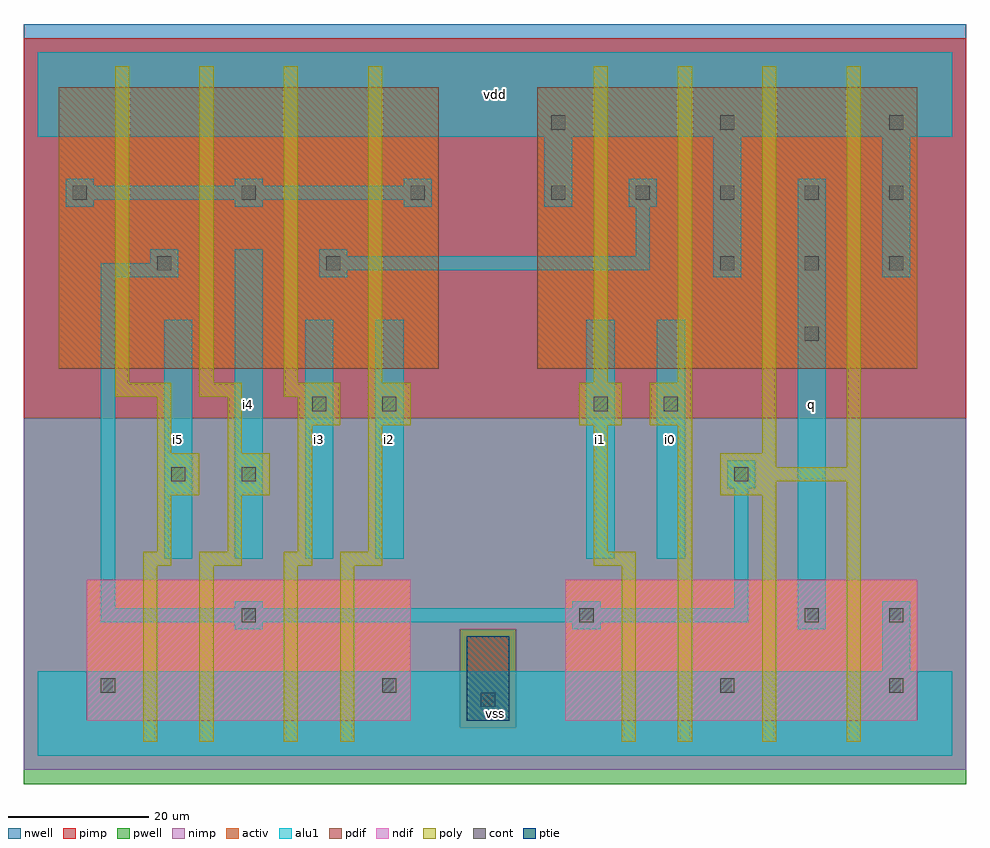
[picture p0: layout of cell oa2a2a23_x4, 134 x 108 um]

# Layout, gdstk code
import gdstk
lib = gdstk.Library(unit=1e-6, precision=1e-09)
def R(c, l, rs):  # rectangles x0, y0, x1, y1
    for r in rs: c.add(gdstk.rectangle(r[:2], r[2:], *l))
def A(c, l, x, y, w, h, nx, ny, dx, dy):  # array of equal rectangles
    R(c, l, [(x+i*dx, y+j*dy, x+i*dx+w, y+j*dy+h) for i in range(nx) for j in range(ny)])
ndif = (3, 0)
pdif = (4, 0)
ptie = (6, 0)
cont = (25, 0)
pwell = (41, 0)
nwell = (42, 0)
activ = (43, 0)
pimp = (44, 0)
nimp = (45, 0)
poly = (46, 0)
alu1 = (49, 0)

oa2a2a23_x4 = lib.new_cell('oa2a2a23_x4')
R(oa2a2a23_x4, ndif, [(7,5,53,25), (75,5,125,25)])
R(oa2a2a23_x4, pdif, [(3,55,57,95), (71,55,125,95)])
R(oa2a2a23_x4, ptie, [(61,5,67,17)])
A(oa2a2a23_x4, cont, 97, 69, 2, 2, 3, 1, 12, 0)
A(oa2a2a23_x4, cont, 5, 79, 2, 2, 3, 1, 24, 0)
A(oa2a2a23_x4, cont, 73, 79, 2, 2, 5, 1, 12, 0)
A(oa2a2a23_x4, cont, 73, 89, 2, 2, 3, 1, 24, 0)
R(oa2a2a23_x4, cont, [(63,7,65,9), (9,9,11,11), (49,9,51,11), (97,9,99,11), (121,9,123,11), (29,19,31,21), (77,19,79,21), (109,19,111,21), (121,19,123,21), (19,39,21,41), (29,39,31,41), (99,39,101,41), (39,49,41,51), (49,49,51,51), (79,49,81,51), (89,49,91,51), (109,59,111,61), (17,69,19,71), (41,69,43,71)])
R(oa2a2a23_x4, pwell, [(-2,-4,132,48)])
R(oa2a2a23_x4, nwell, [(-2,48,132,104)])
R(oa2a2a23_x4, activ, [(7,5,53,25), (61,5,67,17), (75,5,125,25), (3,55,57,95), (71,55,125,95)])
R(oa2a2a23_x4, pimp, [(60,4,68,18), (-2,48,132,102)])
R(oa2a2a23_x4, nimp, [(-2,-2,132,4), (-2,4,60,18), (68,4,132,18), (-2,18,132,48)])
A(oa2a2a23_x4, poly, 11, 53, 2, 45, 4, 1, 12, 0)
R(oa2a2a23_x4, poly, [(15,2,17,27), (23,2,25,27), (35,2,37,27), (43,2,45,27), (83,2,85,27), (91,2,93,47), (103,2,105,37), (115,2,117,39), (15,27,19,29), (23,27,29,29), (35,27,39,29), (43,27,49,29), (79,27,85,29), (17,29,19,37), (27,29,29,37), (37,29,39,47), (47,29,49,47), (79,29,81,47), (17,37,23,43), (27,37,33,43), (97,37,105,39), (97,39,117,41), (97,41,105,43), (115,41,117,98), (17,43,19,51), (27,43,29,51), (103,43,105,98), (37,47,43,51), (47,47,53,53), (77,47,83,53), (87,47,93,53), (11,51,19,53), (23,51,29,53), (35,51,43,53), (79,53,81,98), (91,53,93,98)])
A(oa2a2a23_x4, alu1, 4, 78, 4, 1, 3, 2, 24, 3)
R(oa2a2a23_x4, alu1, [(0,0,130,12), (120,12,124,22), (28,18,32,19), (76,18,80,19), (108,18,112,82), (9,19,101,21), (9,21,11,68), (28,21,32,22), (76,21,80,22), (99,21,101,38), (18,28,22,62), (28,28,32,72), (38,28,42,62), (48,28,52,62), (78,28,82,62), (88,28,92,62), (98,38,102,42), (9,68,20,70), (40,68,44,69), (96,68,100,88), (120,68,124,88), (40,69,87,71), (16,70,20,72), (40,71,44,72), (85,71,87,78), (72,78,76,88), (84,78,88,82), (4,79,56,81), (0,88,130,100)])
oa2a2a23_x4.add(gdstk.Label('i5', (20,45), layer=49, texttype=0))
oa2a2a23_x4.add(gdstk.Label('i3', (40,45), layer=49, texttype=0))
oa2a2a23_x4.add(gdstk.Label('i4', (30,50), layer=49, texttype=0))
oa2a2a23_x4.add(gdstk.Label('vss', (65,6), layer=49, texttype=0))
oa2a2a23_x4.add(gdstk.Label('i2', (50,45), layer=49, texttype=0))
oa2a2a23_x4.add(gdstk.Label('vdd', (65,94), layer=49, texttype=0))
oa2a2a23_x4.add(gdstk.Label('i0', (90,45), layer=49, texttype=0))
oa2a2a23_x4.add(gdstk.Label('i1', (80,45), layer=49, texttype=0))
oa2a2a23_x4.add(gdstk.Label('q', (110,50), layer=49, texttype=0))

lib.write_gds('oa2a2a23_x4.gds')
